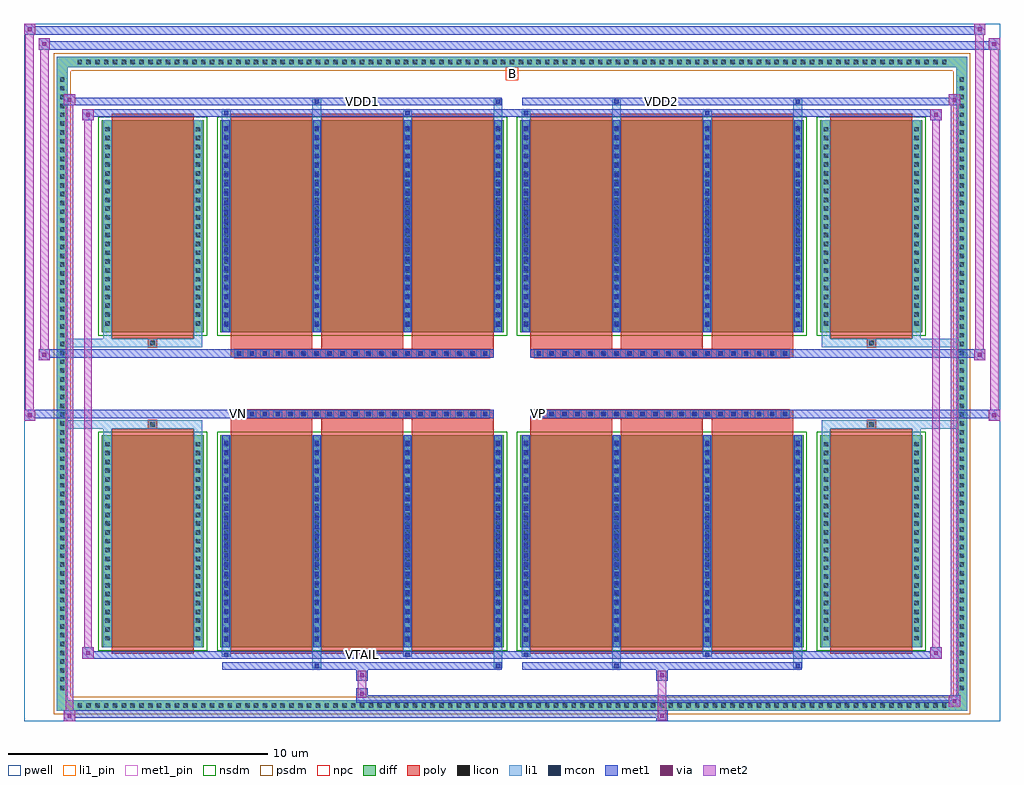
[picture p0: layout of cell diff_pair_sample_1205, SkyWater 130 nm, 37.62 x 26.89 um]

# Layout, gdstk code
import gdstk
lib = gdstk.Library(unit=1e-6, precision=5e-09)
def R(c, l, rs):  # rectangles x0, y0, x1, y1
    for r in rs: c.add(gdstk.rectangle(r[:2], r[2:], *l))
def A(c, l, x, y, w, h, nx, ny, dx, dy):  # array of equal rectangles
    R(c, l, [(x+i*dx, y+j*dy, x+i*dx+w, y+j*dy+h) for i in range(nx) for j in range(ny)])
def P(c, l, *ps):  # polygons
    for p in ps: c.add(gdstk.Polygon(p, *l))
pwell = (64, 44)
diff = (65, 20)
poly = (66, 20)
licon = (66, 44)
li1_pin = (67, 16)
li1 = (67, 20)
mcon = (67, 44)
met1_pin = (68, 16)
met1 = (68, 20)
via = (68, 44)
met2 = (69, 20)
nsdm = (93, 44)
psdm = (94, 20)
npc = (95, 20)

diff_pair_sample_1205 = lib.new_cell('diff_pair_sample_1205')
R(diff_pair_sample_1205, pwell, [(-18.81,-13.01,18.81,13.88), (-16.13,-11.2,-0.01,-0.8), (0.01,-11.2,16.13,-0.8), (-16.13,0.8,-0.01,11.2), (0.01,0.8,16.13,11.2)])
A(diff_pair_sample_1205, diff, -16.865, -12.61, 0.41, 0.41, 99, 2, 0.34, 24.81)
A(diff_pair_sample_1205, diff, -17.54, -11.935, 0.41, 0.41, 1, 70, 0, 0.34)
A(diff_pair_sample_1205, diff, 17.13, -11.935, 0.41, 0.41, 1, 70, 0, 0.34)
R(diff_pair_sample_1205, diff, [(-16.865,-12.61,16.865,-12.2), (-17.54,-11.935,-17.13,11.935), (17.13,-11.935,17.54,11.935), (-15.82,-10.155,-11.88,-1.985), (-11.24,-10.155,-0.32,-1.985), (0.32,-10.155,11.24,-1.985), (11.88,-10.155,15.82,-1.985), (-15.82,1.985,-11.88,10.155), (-11.24,1.985,-0.32,10.155), (0.32,1.985,11.24,10.155), (11.88,1.985,15.82,10.155), (-16.865,12.2,16.865,12.61)])
P(diff_pair_sample_1205, diff, [(17.54,12.61),(-17.54,12.61),(-17.54,-12.2),(-17.13,-12.2),(-17.13,12.2),(17.13,12.2),(17.13,-12.2),(-17.13,-12.2),(-17.54,-12.2),(-17.54,-12.61),(17.54,-12.61)])
A(diff_pair_sample_1205, poly, -10.85, -10.405, 3.16, 8.67, 3, 2, 3.49, 12.14)
A(diff_pair_sample_1205, poly, 0.71, -10.405, 3.16, 8.67, 3, 2, 3.49, 12.14)
A(diff_pair_sample_1205, poly, -10.85, -1.735, 3.16, 0.405, 3, 2, 3.49, 3.065)
A(diff_pair_sample_1205, poly, 0.71, -1.735, 3.16, 0.405, 3, 2, 3.49, 3.065)
A(diff_pair_sample_1205, poly, -10.695, -1.33, 0.33, 0.33, 20, 2, 0.5, 2.33)
A(diff_pair_sample_1205, poly, 0.865, -1.33, 0.33, 0.33, 20, 2, 0.5, 2.33)
R(diff_pair_sample_1205, poly, [(-15.43,-10.405,-12.27,-1.735), (12.27,-10.405,15.43,-1.735), (-14.015,-1.735,-13.685,-1.405), (-14.015,-1.735,-13.685,-1.405), (13.685,-1.735,14.015,-1.405), (13.685,-1.735,14.015,-1.405), (-10.85,-1.33,-0.71,-1), (0.71,-1.33,10.85,-1), (-10.85,1,-0.71,1.33), (0.71,1,10.85,1.33), (-14.015,1.405,-13.685,1.735), (-14.015,1.405,-13.685,1.735), (13.685,1.405,14.015,1.735), (13.685,1.405,14.015,1.735), (-15.43,1.735,-12.27,10.405), (12.27,1.735,15.43,10.405)])
A(diff_pair_sample_1205, licon, -16.745, -12.49, 0.17, 0.17, 99, 2, 0.34, 24.81)
A(diff_pair_sample_1205, licon, -17.42, -11.815, 0.17, 0.17, 1, 70, 0, 0.34)
A(diff_pair_sample_1205, licon, 17.25, -11.815, 0.17, 0.17, 1, 70, 0, 0.34)
A(diff_pair_sample_1205, licon, -15.68, -9.895, 0.17, 0.17, 1, 23, 0, 0.34)
A(diff_pair_sample_1205, licon, -12.19, -9.895, 0.17, 0.17, 1, 23, 0, 0.34)
A(diff_pair_sample_1205, licon, -11.1, -9.895, 0.17, 0.17, 4, 23, 3.49, 0.34)
A(diff_pair_sample_1205, licon, 0.46, -9.895, 0.17, 0.17, 4, 23, 3.49, 0.34)
A(diff_pair_sample_1205, licon, 12.02, -9.895, 0.17, 0.17, 1, 23, 0, 0.34)
A(diff_pair_sample_1205, licon, 15.51, -9.895, 0.17, 0.17, 1, 23, 0, 0.34)
A(diff_pair_sample_1205, licon, -10.615, -1.25, 0.17, 0.17, 20, 2, 0.5, 2.33)
A(diff_pair_sample_1205, licon, 0.945, -1.25, 0.17, 0.17, 20, 2, 0.5, 2.33)
A(diff_pair_sample_1205, licon, -15.68, 2.245, 0.17, 0.17, 1, 23, 0, 0.34)
A(diff_pair_sample_1205, licon, -12.19, 2.245, 0.17, 0.17, 1, 23, 0, 0.34)
A(diff_pair_sample_1205, licon, -11.1, 2.245, 0.17, 0.17, 4, 23, 3.49, 0.34)
A(diff_pair_sample_1205, licon, 0.46, 2.245, 0.17, 0.17, 4, 23, 3.49, 0.34)
A(diff_pair_sample_1205, licon, 12.02, 2.245, 0.17, 0.17, 1, 23, 0, 0.34)
A(diff_pair_sample_1205, licon, 15.51, 2.245, 0.17, 0.17, 1, 23, 0, 0.34)
R(diff_pair_sample_1205, licon, [(-13.935,-1.655,-13.765,-1.485), (13.765,-1.655,13.935,-1.485), (-13.935,1.485,-13.765,1.655), (13.765,1.485,13.935,1.655)])
R(diff_pair_sample_1205, li1_pin, [(-0.25,11.7,0.25,12.2)])
A(diff_pair_sample_1205, li1, -16.825, -12.57, 0.33, 0.33, 99, 2, 0.34, 24.81)
A(diff_pair_sample_1205, li1, -17.5, -11.895, 0.33, 0.33, 1, 70, 0, 0.34)
A(diff_pair_sample_1205, li1, 17.17, -11.895, 0.33, 0.33, 1, 70, 0, 0.34)
A(diff_pair_sample_1205, li1, -11.18, -10.155, 0.33, 8.17, 4, 2, 3.49, 12.14)
A(diff_pair_sample_1205, li1, 0.38, -10.155, 0.33, 8.17, 4, 2, 3.49, 12.14)
A(diff_pair_sample_1205, li1, -15.76, -9.975, 0.33, 0.33, 1, 23, 0, 0.34)
A(diff_pair_sample_1205, li1, -12.27, -9.975, 0.33, 0.33, 1, 23, 0, 0.34)
A(diff_pair_sample_1205, li1, -11.18, -9.975, 0.33, 0.33, 4, 23, 3.49, 0.34)
A(diff_pair_sample_1205, li1, 0.38, -9.975, 0.33, 0.33, 4, 23, 3.49, 0.34)
A(diff_pair_sample_1205, li1, 11.94, -9.975, 0.33, 0.33, 1, 23, 0, 0.34)
A(diff_pair_sample_1205, li1, 15.43, -9.975, 0.33, 0.33, 1, 23, 0, 0.34)
A(diff_pair_sample_1205, li1, -11.1, -9.935, 0.17, 0.17, 4, 22, 3.49, 0.36)
A(diff_pair_sample_1205, li1, -11.1, -9.935, 0.17, 7.73, 4, 2, 3.49, 12.14)
A(diff_pair_sample_1205, li1, 0.46, -9.935, 0.17, 0.17, 4, 22, 3.49, 0.36)
A(diff_pair_sample_1205, li1, 0.46, -9.935, 0.17, 7.73, 4, 2, 3.49, 12.14)
A(diff_pair_sample_1205, li1, -10.695, -1.33, 0.33, 0.33, 20, 2, 0.5, 2.33)
A(diff_pair_sample_1205, li1, 0.865, -1.33, 0.33, 0.33, 20, 2, 0.5, 2.33)
A(diff_pair_sample_1205, li1, -15.76, 2.165, 0.33, 0.33, 1, 23, 0, 0.34)
A(diff_pair_sample_1205, li1, -12.27, 2.165, 0.33, 0.33, 1, 23, 0, 0.34)
A(diff_pair_sample_1205, li1, -11.18, 2.165, 0.33, 0.33, 4, 23, 3.49, 0.34)
A(diff_pair_sample_1205, li1, 0.38, 2.165, 0.33, 0.33, 4, 23, 3.49, 0.34)
A(diff_pair_sample_1205, li1, 11.94, 2.165, 0.33, 0.33, 1, 23, 0, 0.34)
A(diff_pair_sample_1205, li1, 15.43, 2.165, 0.33, 0.33, 1, 23, 0, 0.34)
A(diff_pair_sample_1205, li1, -11.1, 2.205, 0.17, 0.17, 4, 22, 3.49, 0.36)
A(diff_pair_sample_1205, li1, 0.46, 2.205, 0.17, 0.17, 4, 22, 3.49, 0.36)
R(diff_pair_sample_1205, li1, [(-17.54,-12.61,-17.13,-12.2), (-17.54,-12.61,-17.13,-12.2), (-17.13,-12.61,17.13,-12.2), (17.13,-12.61,17.54,-12.2), (17.13,-12.61,17.54,-12.2), (-17.54,-12.2,-17.13,12.2), (17.13,-12.2,17.54,12.2), (-7.69,-10.96,-7.36,-10.155), (-7.61,-10.96,-7.44,-10.79), (-0.71,-10.96,-0.38,-10.155), (-0.63,-10.96,-0.46,-10.79), (3.87,-10.96,4.2,-10.155), (3.95,-10.96,4.12,-10.79), (10.85,-10.96,11.18,-10.155), (10.93,-10.96,11.1,-10.79), (-11.18,-10.53,-10.85,-10.155), (-11.1,-10.53,-10.93,-10.36), (-4.2,-10.53,-3.87,-10.155), (-4.12,-10.53,-3.95,-10.36), (0.38,-10.53,0.71,-10.155), (0.46,-10.53,0.63,-10.36), (7.36,-10.53,7.69,-10.155), (7.44,-10.53,7.61,-10.36), (-15.76,-10.155,-15.43,-1.985), (-12.27,-10.155,-11.94,-1.985), (11.94,-10.155,12.27,-1.985), (15.43,-10.155,15.76,-1.985), (-15.76,-1.985,-15.43,-1.405), (-12.27,-1.985,-11.94,-1.405), (11.94,-1.985,12.27,-1.405), (15.43,-1.985,15.76,-1.405), (-17.54,-1.735,-14.015,-1.405), (-15.76,-1.735,-14.015,-1.405), (-14.015,-1.735,-13.685,-1.405), (-13.685,-1.735,-11.94,-1.405), (11.94,-1.735,13.685,-1.405), (13.685,-1.735,14.015,-1.405), (13.685,-1.735,17.54,-1.405), (14.015,-1.735,15.76,-1.405), (-17.54,1.405,-14.015,1.735), (-15.76,1.405,-14.015,1.735), (-15.76,1.405,-15.43,1.985), (-14.015,1.405,-13.685,1.735), (-13.685,1.405,-11.94,1.735), (-12.27,1.405,-11.94,1.985), (11.94,1.405,13.685,1.735), (11.94,1.405,12.27,1.985), (13.685,1.405,14.015,1.735), (13.685,1.405,17.54,1.735), (14.015,1.405,15.76,1.735), (15.43,1.405,15.76,1.985), (-15.76,1.985,-15.43,10.155), (-12.27,1.985,-11.94,10.155), (11.94,1.985,12.27,10.155), (15.43,1.985,15.76,10.155), (-11.18,10.155,-10.85,10.53), (-7.69,10.155,-7.36,10.96), (-4.2,10.155,-3.87,10.53), (-0.71,10.155,-0.38,10.96), (0.38,10.155,0.71,10.53), (3.87,10.155,4.2,10.96), (7.36,10.155,7.69,10.53), (10.85,10.155,11.18,10.96), (-11.1,10.36,-10.93,10.53), (-4.12,10.36,-3.95,10.53), (0.46,10.36,0.63,10.53), (7.44,10.36,7.61,10.53), (-7.61,10.79,-7.44,10.96), (-0.63,10.79,-0.46,10.96), (3.95,10.79,4.12,10.96), (10.93,10.79,11.1,10.96), (-17.54,12.2,-17.13,12.61), (-17.54,12.2,-17.13,12.61), (-17.13,12.2,17.13,12.61), (17.13,12.2,17.54,12.61), (17.13,12.2,17.54,12.61)])
A(diff_pair_sample_1205, mcon, -11.1, -9.935, 0.17, 0.17, 4, 22, 3.49, 0.36)
A(diff_pair_sample_1205, mcon, 0.46, -9.935, 0.17, 0.17, 4, 22, 3.49, 0.36)
A(diff_pair_sample_1205, mcon, -10.615, -1.25, 0.17, 0.17, 20, 2, 0.5, 2.33)
A(diff_pair_sample_1205, mcon, 0.945, -1.25, 0.17, 0.17, 20, 2, 0.5, 2.33)
A(diff_pair_sample_1205, mcon, -11.1, 2.205, 0.17, 0.17, 4, 22, 3.49, 0.36)
A(diff_pair_sample_1205, mcon, 0.46, 2.205, 0.17, 0.17, 4, 22, 3.49, 0.36)
R(diff_pair_sample_1205, mcon, [(-7.61,-10.96,-7.44,-10.79), (-0.63,-10.96,-0.46,-10.79), (3.95,-10.96,4.12,-10.79), (10.93,-10.96,11.1,-10.79), (-11.1,-10.53,-10.93,-10.36), (-4.12,-10.53,-3.95,-10.36), (0.46,-10.53,0.63,-10.36), (7.44,-10.53,7.61,-10.36), (-11.1,10.36,-10.93,10.53), (-4.12,10.36,-3.95,10.53), (0.46,10.36,0.63,10.53), (7.44,10.36,7.61,10.53), (-7.61,10.79,-7.44,10.96), (-0.63,10.79,-0.46,10.96), (3.95,10.79,4.12,10.96), (10.93,10.79,11.1,10.96)])
R(diff_pair_sample_1205, met1_pin, [(-5.915,-10.57,-5.645,-10.3), (-10.665,-1.29,-10.395,-1.02), (0.895,-1.29,1.165,-1.02), (-5.915,10.75,-5.645,11.02), (5.645,10.75,5.915,11.02)])
A(diff_pair_sample_1205, met1, -11.16, -10.155, 0.29, 8.17, 4, 2, 3.49, 12.14)
A(diff_pair_sample_1205, met1, 0.4, -10.155, 0.29, 8.17, 4, 2, 3.49, 12.14)
A(diff_pair_sample_1205, met1, -11.16, -9.995, 0.29, 0.29, 4, 22, 3.49, 0.36)
A(diff_pair_sample_1205, met1, 0.4, -9.995, 0.29, 0.29, 4, 22, 3.49, 0.36)
A(diff_pair_sample_1205, met1, -10.675, -1.31, 0.29, 0.29, 20, 2, 0.5, 2.33)
A(diff_pair_sample_1205, met1, 0.885, -1.31, 0.29, 0.29, 20, 2, 0.5, 2.33)
A(diff_pair_sample_1205, met1, -11.16, 2.145, 0.29, 0.29, 4, 22, 3.49, 0.36)
A(diff_pair_sample_1205, met1, 0.4, 2.145, 0.29, 0.29, 4, 22, 3.49, 0.36)
R(diff_pair_sample_1205, met1, [(-17.27,-13.01,-16.84,-12.58), (5.565,-13.01,5.995,-12.58), (-17.27,-12.87,5.995,-12.58), (16.84,-12.44,17.27,-12.01), (-5.995,-12.3,17.27,-12.01), (-5.995,-12.16,-5.565,-11.73), (-5.995,-11.45,-5.565,-11.02), (5.565,-11.45,5.995,-11.02), (-11.16,-11.02,-0.4,-10.73), (-7.67,-11.02,-7.38,-10.73), (-0.69,-11.02,-0.4,-10.73), (0.4,-11.02,11.16,-10.73), (3.89,-11.02,4.18,-10.73), (10.87,-11.02,11.16,-10.73), (-16.56,-10.59,-16.13,-10.16), (-16.56,-10.59,-11.16,-10.3), (-11.16,-10.59,-10.87,-10.3), (-11.16,-10.59,-0.4,-10.3), (-4.18,-10.59,-3.89,-10.3), (-0.4,-10.59,0.4,-10.3), (0.4,-10.59,0.69,-10.3), (0.4,-10.59,11.16,-10.3), (7.38,-10.59,7.67,-10.3), (11.16,-10.59,16.56,-10.3), (16.13,-10.59,16.56,-10.16), (-18.81,-1.43,-18.38,-1), (18.38,-1.43,18.81,-1), (-18.81,-1.33,-0.71,-1), (-10.85,-1.33,-0.71,-1), (0.71,-1.33,10.85,-1), (0.71,-1.33,18.81,-1), (-18.24,0.9,-17.81,1.33), (17.81,0.9,18.24,1.33), (-18.24,1,-10.85,1.33), (-10.85,1,-0.71,1.33), (0.71,1,10.85,1.33), (10.85,1,18.24,1.33), (-16.56,10.16,-16.13,10.59), (16.13,10.16,16.56,10.59), (-16.56,10.3,-11.16,10.59), (-11.16,10.3,-10.87,10.59), (-11.16,10.3,-0.4,10.59), (-4.18,10.3,-3.89,10.59), (-0.4,10.3,0.4,10.59), (0.4,10.3,0.69,10.59), (0.4,10.3,11.16,10.59), (7.38,10.3,7.67,10.59), (11.16,10.3,16.56,10.59), (-17.27,10.73,-16.84,11.16), (-17.27,10.73,-11.16,11.02), (-11.16,10.73,-0.4,11.02), (-7.67,10.73,-7.38,11.02), (-0.69,10.73,-0.4,11.02), (0.4,10.73,11.16,11.02), (3.89,10.73,4.18,11.02), (10.87,10.73,11.16,11.02), (11.16,10.73,17.27,11.02), (16.84,10.73,17.27,11.16), (-18.24,12.88,-17.81,13.31), (-18.24,12.88,-16.13,13.21), (-16.13,12.88,16.13,13.21), (16.13,12.88,18.81,13.21), (18.38,12.88,18.81,13.31), (-18.81,13.45,-18.38,13.88), (-18.81,13.45,-16.13,13.78), (-16.13,13.45,16.13,13.78), (16.13,13.45,18.24,13.78), (17.81,13.45,18.24,13.88)])
R(diff_pair_sample_1205, via, [(-17.13,-12.87,-16.98,-12.72), (5.705,-12.87,5.855,-12.72), (16.98,-12.3,17.13,-12.15), (-5.855,-12.02,-5.705,-11.87), (-5.855,-11.31,-5.705,-11.16), (5.705,-11.31,5.855,-11.16), (-16.42,-10.45,-16.27,-10.3), (16.27,-10.45,16.42,-10.3), (-18.67,-1.29,-18.52,-1.14), (18.52,-1.29,18.67,-1.14), (-18.1,1.04,-17.95,1.19), (17.95,1.04,18.1,1.19), (-16.42,10.3,-16.27,10.45), (16.27,10.3,16.42,10.45), (-17.13,10.87,-16.98,11.02), (16.98,10.87,17.13,11.02), (-18.1,13.02,-17.95,13.17), (18.52,13.02,18.67,13.17), (-18.67,13.59,-18.52,13.74), (17.95,13.59,18.1,13.74)])
R(diff_pair_sample_1205, met2, [(-17.27,-13.01,-16.84,-12.58), (-17.2,-13.01,-16.91,11.16), (-16.91,-13.01,-16.84,-12.58), (-17.22,-12.96,-16.89,-12.63), (5.615,-12.96,5.945,-12.63), (5.615,-12.63,5.945,-11.4), (16.84,-12.44,17.27,-12.01), (16.91,-12.44,17.2,11.16), (17.2,-12.44,17.27,-12.01), (16.89,-12.39,17.22,-12.06), (-5.945,-12.11,-5.615,-11.78), (-5.945,-11.78,-5.615,-11.4), (-5.945,-11.4,-5.615,-11.07), (5.615,-11.4,5.945,-11.07), (-16.56,-10.59,-16.13,-10.16), (-16.49,-10.59,-16.2,10.59), (-16.2,-10.59,-16.13,-10.16), (16.13,-10.59,16.56,-10.16), (16.2,-10.59,16.49,10.59), (16.49,-10.59,16.56,-10.16), (-16.51,-10.54,-16.18,-10.21), (16.18,-10.54,16.51,-10.21), (-18.81,-1.43,-18.38,-1), (-18.76,-1.43,-18.43,13.88), (-18.43,-1.43,-18.38,-1), (18.38,-1.43,18.81,-1), (18.43,-1.43,18.76,13.31), (18.76,-1.43,18.81,-1), (-18.76,-1.38,-18.43,-1.05), (18.43,-1.38,18.76,-1.05), (-18.24,0.9,-17.81,1.33), (-18.19,0.9,-17.86,13.31), (-17.86,0.9,-17.81,1.33), (17.81,0.9,18.24,1.33), (17.86,0.9,18.19,13.88), (18.19,0.9,18.24,1.33), (-18.19,0.95,-17.86,1.28), (17.86,0.95,18.19,1.28), (-16.56,10.16,-16.13,10.59), (-16.2,10.16,-16.13,10.59), (16.13,10.16,16.56,10.59), (16.49,10.16,16.56,10.59), (-16.51,10.21,-16.18,10.54), (16.18,10.21,16.51,10.54), (-17.27,10.73,-16.84,11.16), (-16.91,10.73,-16.84,11.16), (16.84,10.73,17.27,11.16), (17.2,10.73,17.27,11.16), (-17.22,10.78,-16.89,11.11), (16.89,10.78,17.22,11.11), (-18.24,12.88,-17.81,13.31), (-17.86,12.88,-17.81,13.31), (18.38,12.88,18.81,13.31), (18.76,12.88,18.81,13.31), (-18.19,12.93,-17.86,13.26), (18.43,12.93,18.76,13.26), (-18.81,13.45,-18.38,13.88), (-18.43,13.45,-18.38,13.88), (17.81,13.45,18.24,13.88), (18.19,13.45,18.24,13.88), (-18.76,13.5,-18.43,13.83), (17.86,13.5,18.19,13.83)])
R(diff_pair_sample_1205, nsdm, [(-15.95,-10.285,-11.75,-1.855), (-11.37,-10.285,-0.19,-1.855), (0.19,-10.285,11.37,-1.855), (11.75,-10.285,15.95,-1.855), (-15.95,1.855,-11.75,10.285), (-11.37,1.855,-0.19,10.285), (0.19,1.855,11.37,10.285), (11.75,1.855,15.95,10.285)])
P(diff_pair_sample_1205, psdm, [(17.67,12.74),(-17.67,12.74),(-17.67,-12.07),(-17,-12.07),(-17,12.07),(17,12.07),(17,-12.07),(-17,-12.07),(-17.67,-12.07),(-17.67,-12.74),(17.67,-12.74)])
A(diff_pair_sample_1205, npc, -10.715, -1.35, 0.37, 0.37, 20, 2, 0.5, 2.33)
A(diff_pair_sample_1205, npc, 0.845, -1.35, 0.37, 0.37, 20, 2, 0.5, 2.33)
R(diff_pair_sample_1205, npc, [(-14.035,-1.755,-13.665,-1.385), (13.665,-1.755,14.035,-1.385), (-10.715,-1.35,-9.845,-0.98), (-10.715,-1.35,-9.845,-0.98), (-10.215,-1.35,-9.345,-0.98), (-10.215,-1.35,-9.345,-0.98), (-9.715,-1.35,-8.845,-0.98), (-9.715,-1.35,-8.845,-0.98), (-9.215,-1.35,-8.345,-0.98), (-9.215,-1.35,-8.345,-0.98), (-8.715,-1.35,-7.845,-0.98), (-8.715,-1.35,-7.845,-0.98), (-8.215,-1.35,-7.345,-0.98), (-8.215,-1.35,-7.345,-0.98), (-7.715,-1.35,-6.845,-0.98), (-7.715,-1.35,-6.845,-0.98), (-7.215,-1.35,-6.345,-0.98), (-7.215,-1.35,-6.345,-0.98), (-6.715,-1.35,-5.845,-0.98), (-6.715,-1.35,-5.845,-0.98), (-6.215,-1.35,-5.345,-0.98), (-6.215,-1.35,-5.345,-0.98), (-5.715,-1.35,-4.845,-0.98), (-5.715,-1.35,-4.845,-0.98), (-5.215,-1.35,-4.345,-0.98), (-5.215,-1.35,-4.345,-0.98), (-4.715,-1.35,-3.845,-0.98), (-4.715,-1.35,-3.845,-0.98), (-4.215,-1.35,-3.345,-0.98), (-4.215,-1.35,-3.345,-0.98), (-3.715,-1.35,-2.845,-0.98), (-3.715,-1.35,-2.845,-0.98), (-3.215,-1.35,-2.345,-0.98), (-3.215,-1.35,-2.345,-0.98), (-2.715,-1.35,-1.845,-0.98), (-2.715,-1.35,-1.845,-0.98), (-2.215,-1.35,-1.345,-0.98), (-2.215,-1.35,-1.345,-0.98), (-1.715,-1.35,-0.845,-0.98), (-1.715,-1.35,-0.845,-0.98), (0.845,-1.35,1.715,-0.98), (0.845,-1.35,1.715,-0.98), (1.345,-1.35,2.215,-0.98), (1.345,-1.35,2.215,-0.98), (1.845,-1.35,2.715,-0.98), (1.845,-1.35,2.715,-0.98), (2.345,-1.35,3.215,-0.98), (2.345,-1.35,3.215,-0.98), (2.845,-1.35,3.715,-0.98), (2.845,-1.35,3.715,-0.98), (3.345,-1.35,4.215,-0.98), (3.345,-1.35,4.215,-0.98), (3.845,-1.35,4.715,-0.98), (3.845,-1.35,4.715,-0.98), (4.345,-1.35,5.215,-0.98), (4.345,-1.35,5.215,-0.98), (4.845,-1.35,5.715,-0.98), (4.845,-1.35,5.715,-0.98), (5.345,-1.35,6.215,-0.98), (5.345,-1.35,6.215,-0.98), (5.845,-1.35,6.715,-0.98), (5.845,-1.35,6.715,-0.98), (6.345,-1.35,7.215,-0.98), (6.345,-1.35,7.215,-0.98), (6.845,-1.35,7.715,-0.98), (6.845,-1.35,7.715,-0.98), (7.345,-1.35,8.215,-0.98), (7.345,-1.35,8.215,-0.98), (7.845,-1.35,8.715,-0.98), (7.845,-1.35,8.715,-0.98), (8.345,-1.35,9.215,-0.98), (8.345,-1.35,9.215,-0.98), (8.845,-1.35,9.715,-0.98), (8.845,-1.35,9.715,-0.98), (9.345,-1.35,10.215,-0.98), (9.345,-1.35,10.215,-0.98), (9.845,-1.35,10.715,-0.98), (9.845,-1.35,10.715,-0.98), (-10.715,0.98,-9.845,1.35), (-10.715,0.98,-9.845,1.35), (-10.215,0.98,-9.345,1.35), (-10.215,0.98,-9.345,1.35), (-9.715,0.98,-8.845,1.35), (-9.715,0.98,-8.845,1.35), (-9.215,0.98,-8.345,1.35), (-9.215,0.98,-8.345,1.35), (-8.715,0.98,-7.845,1.35), (-8.715,0.98,-7.845,1.35), (-8.215,0.98,-7.345,1.35), (-8.215,0.98,-7.345,1.35), (-7.715,0.98,-6.845,1.35), (-7.715,0.98,-6.845,1.35), (-7.215,0.98,-6.345,1.35), (-7.215,0.98,-6.345,1.35), (-6.715,0.98,-5.845,1.35), (-6.715,0.98,-5.845,1.35), (-6.215,0.98,-5.345,1.35), (-6.215,0.98,-5.345,1.35), (-5.715,0.98,-4.845,1.35), (-5.715,0.98,-4.845,1.35), (-5.215,0.98,-4.345,1.35), (-5.215,0.98,-4.345,1.35), (-4.715,0.98,-3.845,1.35), (-4.715,0.98,-3.845,1.35), (-4.215,0.98,-3.345,1.35), (-4.215,0.98,-3.345,1.35), (-3.715,0.98,-2.845,1.35), (-3.715,0.98,-2.845,1.35), (-3.215,0.98,-2.345,1.35), (-3.215,0.98,-2.345,1.35), (-2.715,0.98,-1.845,1.35), (-2.715,0.98,-1.845,1.35), (-2.215,0.98,-1.345,1.35), (-2.215,0.98,-1.345,1.35), (-1.715,0.98,-0.845,1.35), (-1.715,0.98,-0.845,1.35), (0.845,0.98,1.715,1.35), (0.845,0.98,1.715,1.35), (1.345,0.98,2.215,1.35), (1.345,0.98,2.215,1.35), (1.845,0.98,2.715,1.35), (1.845,0.98,2.715,1.35), (2.345,0.98,3.215,1.35), (2.345,0.98,3.215,1.35), (2.845,0.98,3.715,1.35), (2.845,0.98,3.715,1.35), (3.345,0.98,4.215,1.35), (3.345,0.98,4.215,1.35), (3.845,0.98,4.715,1.35), (3.845,0.98,4.715,1.35), (4.345,0.98,5.215,1.35), (4.345,0.98,5.215,1.35), (4.845,0.98,5.715,1.35), (4.845,0.98,5.715,1.35), (5.345,0.98,6.215,1.35), (5.345,0.98,6.215,1.35), (5.845,0.98,6.715,1.35), (5.845,0.98,6.715,1.35), (6.345,0.98,7.215,1.35), (6.345,0.98,7.215,1.35), (6.845,0.98,7.715,1.35), (6.845,0.98,7.715,1.35), (7.345,0.98,8.215,1.35), (7.345,0.98,8.215,1.35), (7.845,0.98,8.715,1.35), (7.845,0.98,8.715,1.35), (8.345,0.98,9.215,1.35), (8.345,0.98,9.215,1.35), (8.845,0.98,9.715,1.35), (8.845,0.98,9.715,1.35), (9.345,0.98,10.215,1.35), (9.345,0.98,10.215,1.35), (9.845,0.98,10.715,1.35), (9.845,0.98,10.715,1.35), (-14.035,1.385,-13.665,1.755), (13.665,1.385,14.035,1.755)])
diff_pair_sample_1205.add(gdstk.Label('VTAIL', (-5.78,-10.435), layer=68, texttype=5))
diff_pair_sample_1205.add(gdstk.Label('VN', (-10.53,-1.155), layer=68, texttype=5))
diff_pair_sample_1205.add(gdstk.Label('VP', (1.03,-1.155), layer=68, texttype=5))
diff_pair_sample_1205.add(gdstk.Label('B', (0,11.95), layer=67, texttype=5))
diff_pair_sample_1205.add(gdstk.Label('VDD2', (5.78,10.885), layer=68, texttype=5))
diff_pair_sample_1205.add(gdstk.Label('VDD1', (-5.78,10.885), layer=68, texttype=5))

lib.write_gds('diff_pair_sample_1205.gds')
